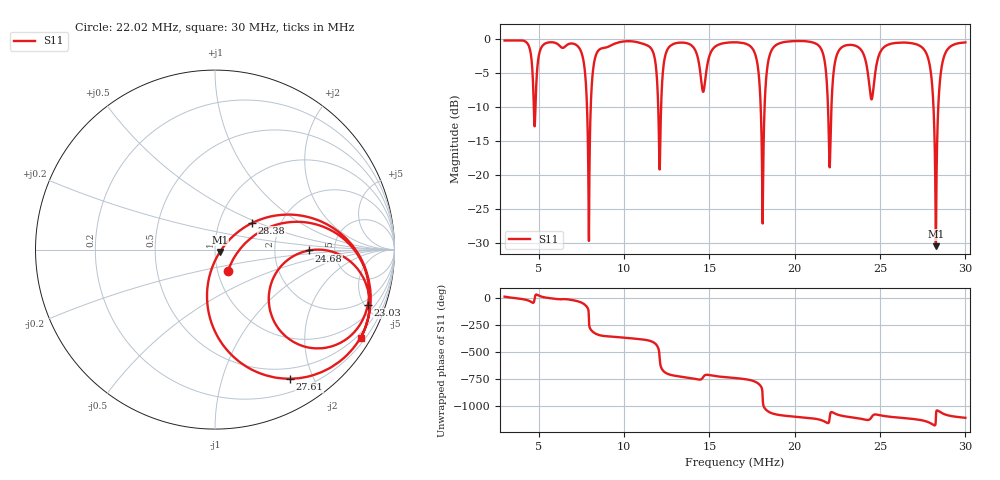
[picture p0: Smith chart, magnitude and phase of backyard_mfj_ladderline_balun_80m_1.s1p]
! Touchstone file generated by AntScope2
# MHz Z RI R 50
! Format: Frequency Z-real Z-imaginary (normalized to 50 Ohm)
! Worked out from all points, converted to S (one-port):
!   2001 points, 3 MHz to 30 MHz, reference 50 ohm
!   lowest |S11| = -30.4 dB at 28.27 MHz (marker M1), VSWR 1.06, Z = 52.7 - j1.41 ohm
!   |S11| at or under -10 dB: 7.829 MHz to 8.046 MHz (217.1 kHz wide, 2.73 % of centre); 18.01 MHz to 18.23 MHz (227 kHz wide, 1.25 % of centre); 28.13 MHz to 28.41 MHz (278.7 kHz wide, 0.986 % of centre)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
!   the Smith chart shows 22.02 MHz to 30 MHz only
!   S11 on the Smith chart (normalised r, x): 22.02 MHz: 1.12, -0.28; 23.03 MHz: 1.53, -5.26; 24.68 MHz: 3.20, -0.04; 27.61 MHz: 0.36, -1.68; 28.38 MHz: 1.44, +0.45; 30 MHz: 0.35, -3.53
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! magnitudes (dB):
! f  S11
! 3 MHz  -0.2
! 4.364 MHz  -0.7
! 4.769 MHz  -12.7
! 6.375 MHz  -1.2
! 7.522 MHz  -2.1
! 7.941 MHz  -29.7
! 8.346 MHz  -2.4
! 9.75 MHz  -0.4
! 11.63 MHz  -1.5
! 12.09 MHz  -19.1
! 13.12 MHz  -0.5
! 14.64 MHz  -7.7
! 16.5 MHz  -0.4
! 17.7 MHz  -2.3
! 18.12 MHz  -27.1
! 18.55 MHz  -2.2
! 19.88 MHz  -0.3
! 21.56 MHz  -1.5
! 22.02 MHz  -17.0
! 23.03 MHz  -0.9
! 23.25 MHz  -0.8
! 24.68 MHz  -5.6
! 26.62 MHz  -0.5
! 27.61 MHz  -1.6
! 28.27 MHz  -30.4
! 28.38 MHz  -11.9
! 28.74 MHz  -2.6
! 30 MHz  -0.4
